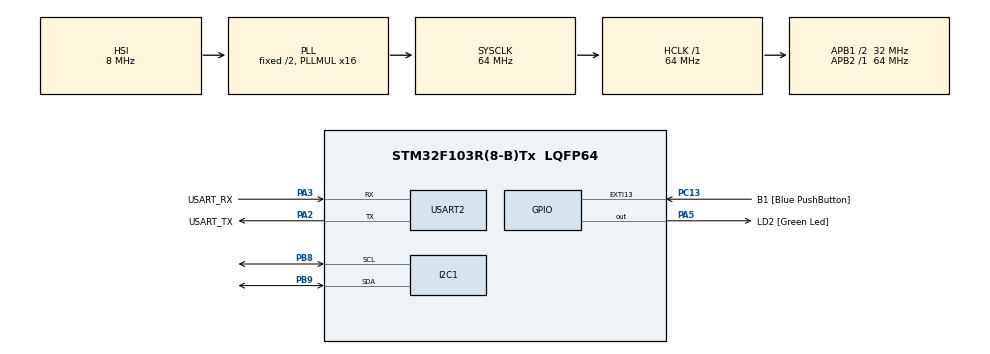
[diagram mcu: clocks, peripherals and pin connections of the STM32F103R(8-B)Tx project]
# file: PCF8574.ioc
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I2C1.I2C_Mode=I2C_Standard
Mcu.Family=STM32F1
Mcu.Name=STM32F103R(8-B)Tx
Mcu.Package=LQFP64
NVIC.EXTI15_10_IRQn=true\:0\:0\:false\:false\:true\:true\:true\:true
NVIC.PriorityGroup=NVIC_PRIORITYGROUP_4
PA13.GPIO_Label=TMS
PA13.Mode=Serial_Wire
PA13.Signal=SYS_JTMS-SWDIO
PA14.GPIO_Label=TCK
PA14.Mode=Serial_Wire
PA14.Signal=SYS_JTCK-SWCLK
PA2.GPIO_Label=USART_TX
PA2.GPIO_Mode=GPIO_MODE_AF_PP
PA2.GPIO_PuPd=GPIO_NOPULL
PA2.GPIO_Speed=GPIO_SPEED_FREQ_LOW
PA2.Mode=Asynchronous
PA2.Signal=USART2_TX
PA3.GPIO_Label=USART_RX
PA3.GPIO_Mode=GPIO_MODE_INPUT
PA3.GPIO_PuPd=GPIO_NOPULL
PA3.Mode=Asynchronous
PA3.Signal=USART2_RX
PA5.GPIO_Label=LD2 [Green Led]
PA5.GPIO_ModeDefaultOutputPP=GPIO_MODE_OUTPUT_PP
PA5.GPIO_PuPd=GPIO_NOPULL
PA5.GPIO_Speed=GPIO_SPEED_FREQ_LOW
PA5.Signal=GPIO_Output
PB3.GPIO_Label=SWO
PB3.Signal=SYS_JTDO-TRACESWO
PB8.Mode=I2C
PB8.Signal=I2C1_SCL
PB9.Mode=I2C
PB9.Signal=I2C1_SDA
PC13-TAMPER-RTC.GPIO_Label=B1 [Blue PushButton]
PC13-TAMPER-RTC.GPIO_PuPd=GPIO_NOPULL
PC13-TAMPER-RTC.Signal=GPXTI13
PC14-OSC32_IN.Mode=LSE-External-Oscillator
PC14-OSC32_IN.Signal=RCC_OSC32_IN
PC15-OSC32_OUT.Mode=LSE-External-Oscillator
PC15-OSC32_OUT.Signal=RCC_OSC32_OUT
PD0-OSC_IN.Mode=HSE-External-Clock-Source
PD0-OSC_IN.Signal=RCC_OSC_IN
PD1-OSC_OUT.Mode=HSE-External-Clock-Source
PD1-OSC_OUT.Signal=RCC_OSC_OUT
ProjectManager.HeapSize=0x200
ProjectManager.StackSize=0x400
ProjectManager.TargetToolchain=STM32CubeIDE
RCC.AHBFreq_Value=64000000
RCC.APB1CLKDivider=RCC_HCLK_DIV2
RCC.APB1Freq_Value=32000000
RCC.APB1TimFreq_Value=64000000
RCC.APB2Freq_Value=64000000
RCC.APB2TimFreq_Value=64000000
RCC.HCLKFreq_Value=64000000
RCC.PLLMUL=RCC_PLL_MUL16
RCC.RTCClockSelection=RCC_RTCCLKSOURCE_LSE
RCC.SYSCLKFreq_VALUE=64000000
RCC.SYSCLKSource=RCC_SYSCLKSOURCE_PLLCLK
RCC.USBFreq_Value=64000000
USART2.VirtualMode=VM_ASYNC
board=NUCLEO-F103RB

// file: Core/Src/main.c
/* USER CODE BEGIN Header */
/**
  ******************************************************************************
  * @file           : main.c
  * @brief          : Main program body
  ******************************************************************************
  * @attention
  *
  * Copyright (c) 2026 STMicroelectronics.
  * All rights reserved.
  *
  * This software is licensed under terms that can be found in the LICENSE file
  * in the root directory of this software component.
  * If no LICENSE file comes with this software, it is provided AS-IS.
  *
  ******************************************************************************
  */
/**
 * 03_PCF8574_LCD  —  [계층: HAL + 사용자 드라이버(i2c_lcd)]  I2C 백팩(PCF8574)을 단 문자 LCD 제어
 *
 * 구성
 *   I2C1 (100kHz, PB8/PB9 로 리맵) -> PCF8574 (I/O 확장기) -> HD44780 문자 LCD (4비트 모드)
 *   i2c_lcd.h : 외부 라이브러리 I2C-LCD-STM32 (PlatformIO lib_deps) — HAL I2C 호출을 감싼 LCD 드라이버
 *
 * 하드웨어 대응 (RM0008)
 *   AFIO_MAPR.I2C1_REMAP = 1 : I2C1 을 PB6/PB7 에서 PB8/PB9 로 이동 (HAL_msp 에서 설정)
 *   I2C1_CR1, CCR, TRISE      : 100kHz 표준 모드 타이밍
 *   HAL_I2C_IsDeviceReady     : 주소 바이트를 보내 ACK 여부를 확인 (I2C 스캐너)
 *   LCD 주소 0x4E = 7비트 0x27 << 1  (HAL 은 8비트 형태 주소를 요구)
 *
 * I2C 는 폴링 방식의 블로킹 전송이다 (I2C 인터럽트/콜백 없음).
 * 활성화된 ISR (stm32f1xx_it.c)
 *   SysTick_Handler      : 1ms 틱 (HAL_IncTick, HAL_Delay/타임아웃용)
 *   EXTI15_10_IRQHandler : B1(PC13) 상승 에지 (CubeMX 기본 설정, EXTI_IMR.MR13).
 *                          HAL_GPIO_EXTI_IRQHandler -> HAL_GPIO_EXTI_Callback 을 부르지만
 *                          이 예제는 콜백을 재정의하지 않으므로 weak 빈 함수가 실행되고 아무 일도 없다.
 * 주의: "STM32 with C Code" 는 17자이므로 16x2 LCD 에서는 마지막 'e'(DDRAM 0x10)가 보이지 않는다.
 */
/* USER CODE END Header */
#include "main.h"

/* USER CODE BEGIN Includes */
#include <stdio.h>
#include "i2c_lcd.h" // 다운로드된 드라이버 헤더 결합
/* USER CODE END Includes */

I2C_HandleTypeDef hi2c1;

UART_HandleTypeDef huart2;

/* USER CODE BEGIN PV */
// 1. LCD 핸들 인스턴스 선언 (전역 또는 main 상단)
I2C_LCD_HandleTypeDef lcd1;
/* USER CODE END PV */

void SystemClock_Config(void);
static void MX_GPIO_Init(void);
static void MX_I2C1_Init(void);
static void MX_USART2_UART_Init(void);

/* USER CODE BEGIN 0 */
// 아래 코드가 있어야만 printf했을 때 UART2로 출력된다.
#ifdef __GNUC__
#define PUTCHAR_PROTOTYPE int __io_putchar(int ch)
#else
#define PUTCHAR_PROTOTYPE int fputc(int ch, FILE *f)
#endif
PUTCHAR_PROTOTYPE {
	if (ch == '\n')
		HAL_UART_Transmit(&huart2, (uint8_t*) "\r", 1, 0xFFFF);
	HAL_UART_Transmit(&huart2, (uint8_t*) &ch, 1, 0xFFFF);
	return ch;
}

/*
 * HD44780 4비트 초기화 (라이브러리 lcd_init() 대체)
 *
 * PCF8574 출력 비트 배치 (모듈 표준, 라이브러리와 동일)
 *   P0 = RS, P1 = RW, P2 = E, P3 = 백라이트, P4~P7 = D4~D7
 *
 * 라이브러리 lcd_init() 의 문제
 *   lcd_send_cmd(0x30) 은 니블을 두 번(3, 0) 보낸다. 전원 직후 LCD 는 8비트 모드라서
 *   E 펄스 한 번이 명령 하나이므로 "0x3?" 와 "0x0?" 두 명령이 된다.
 *   lcd_send_cmd(0x20) 도 2 와 0 두 니블을 보낸다. 2 에서 4비트 모드로 바뀐 뒤 남은 0 이
 *   다음 명령의 상위 니블이 되어, 이후 모든 명령의 니블 짝이 하나씩 어긋난다.
 *   그 결과 0x28(2줄), 0x0C(표시 ON)가 실행되지 않아 화면이 꺼진 채로 남는다
 *   (Proteus LM016L 에서 화면에 아무것도 나오지 않는 원인).
 *
 * 해결: 데이터시트(HD44780 Figure 24) 순서대로 3, 3, 3, 2 를 "니블 하나씩" 보낸 뒤
 *       4비트 모드에서 라이브러리 lcd_send_cmd() 로 설정 명령을 보낸다.
 */
static void lcd_write_nibble(I2C_LCD_HandleTypeDef *lcd, uint8_t nibble)
{
	uint8_t d = (uint8_t)(nibble << 4);
	uint8_t buf[2] = {
		(uint8_t)(d | 0x0C),   // E=1, RS=0, 백라이트=1
		(uint8_t)(d | 0x08)    // E=0 -> 하강 에지에서 LCD 가 D7~D4 를 읽는다
	};
	HAL_I2C_Master_Transmit(lcd->hi2c, lcd->address, buf, 2, 100);
}

static void lcd_init_4bit(I2C_LCD_HandleTypeDef *lcd)
{
	HAL_Delay(50);                 // 전원 투입 후 40ms 이상 대기
	lcd_write_nibble(lcd, 0x3);    // Function set (8비트) 1회
	HAL_Delay(5);                  // 4.1ms 이상
	lcd_write_nibble(lcd, 0x3);    // 2회
	HAL_Delay(1);                  // 100us 이상
	lcd_write_nibble(lcd, 0x3);    // 3회
	HAL_Delay(1);
	lcd_write_nibble(lcd, 0x2);    // 4비트 모드로 전환 (여기부터 명령은 니블 2개)
	HAL_Delay(1);

	lcd_send_cmd(lcd, 0x28);       // Function set: 4비트, 2줄, 5x8
	HAL_Delay(1);
	lcd_send_cmd(lcd, 0x08);       // 표시 OFF
	HAL_Delay(1);
	lcd_send_cmd(lcd, 0x01);       // 화면 지우기 (1.52ms)
	HAL_Delay(2);
	lcd_send_cmd(lcd, 0x06);       // Entry mode: 커서 오른쪽 이동
	HAL_Delay(1);
	lcd_send_cmd(lcd, 0x0C);       // 표시 ON, 커서 OFF, 깜빡임 OFF
	HAL_Delay(1);
}
/* USER CODE END 0 */

int main(void)
{

  /* MCU Configuration--------------------------------------------------------*/

  /* Reset of all peripherals, Initializes the Flash interface and the Systick. */
  HAL_Init();

  /* Configure the system clock */
  SystemClock_Config();

  /* Initialize all configured peripherals */
  MX_GPIO_Init();
  MX_I2C1_Init();
  MX_USART2_UART_Init();
  /* USER CODE BEGIN 2 */
  HAL_Delay(1000);
  // I2C 스캐너 — 실제 주소 확인용
	printf("I2C Scan Start\n");
	for (uint8_t addr = 0x00; addr < 0xF0; addr += 2) {
		if (HAL_I2C_IsDeviceReady(&hi2c1, addr, 1, 10) == HAL_OK) {
			printf("Found: 0x%02X (7bit: 0x%02X)\n", addr, addr >> 1);
		}
	}
	printf("I2C Scan Done\n");

  // 2. 핸들에 하드웨어 레일 바인딩
  lcd1.hi2c    = &hi2c1;
  lcd1.address = 0x4E;   // PCF8574 기본 주소: 0x27<<1 = 0x4E

  // 3. LCD 초기화 (백라이트 자동 ON 포함)
  //    라이브러리 lcd_init() 대신 니블 정렬을 맞춘 lcd_init_4bit() 를 쓴다 (USER CODE 0 설명 참고)
  lcd_init_4bit(&lcd1);

  // 4. 디스플레이 클리어
  lcd_clear(&lcd1);
  printf("LCD clear\n");

  // 5. 1행 출력: gotoxy(col, row) → puts()
  lcd_gotoxy(&lcd1, 0, 0);
  lcd_puts(&lcd1, "STM32 with C Code");
  printf("STM32 with C Code\n");

  // 6. 2행 출력
  lcd_gotoxy(&lcd1, 0, 1);
  lcd_puts(&lcd1, "No OOP Paradigm");
  printf("No OOP Paradigm\n");

  /* USER CODE END 2 */

  /* Infinite loop */
  while (1)
  {

    /* USER CODE BEGIN 3 */
    HAL_GPIO_TogglePin(LD2_GPIO_Port, LD2_Pin);
    HAL_Delay(500);
  }
  /* USER CODE END 3 */
}

void SystemClock_Config(void)
{
  RCC_OscInitTypeDef RCC_OscInitStruct = {0};
  RCC_ClkInitTypeDef RCC_ClkInitStruct = {0};

  /** Initializes the RCC Oscillators according to the specified parameters
  * in the RCC_OscInitTypeDef structure.
  */
  RCC_OscInitStruct.OscillatorType = RCC_OSCILLATORTYPE_HSI;
  RCC_OscInitStruct.HSIState = RCC_HSI_ON;
  RCC_OscInitStruct.HSICalibrationValue = RCC_HSICALIBRATION_DEFAULT;
  RCC_OscInitStruct.PLL.PLLState = RCC_PLL_ON;
  RCC_OscInitStruct.PLL.PLLSource = RCC_PLLSOURCE_HSI_DIV2;
  RCC_OscInitStruct.PLL.PLLMUL = RCC_PLL_MUL16;
  if (HAL_RCC_OscConfig(&RCC_OscInitStruct) != HAL_OK)
  {
    Error_Handler();
  }

  /** Initializes the CPU, AHB and APB buses clocks
  */
  RCC_ClkInitStruct.ClockType = RCC_CLOCKTYPE_HCLK|RCC_CLOCKTYPE_SYSCLK
                              |RCC_CLOCKTYPE_PCLK1|RCC_CLOCKTYPE_PCLK2;
  RCC_ClkInitStruct.SYSCLKSource = RCC_SYSCLKSOURCE_PLLCLK;
  RCC_ClkInitStruct.AHBCLKDivider = RCC_SYSCLK_DIV1;
  RCC_ClkInitStruct.APB1CLKDivider = RCC_HCLK_DIV2;
  RCC_ClkInitStruct.APB2CLKDivider = RCC_HCLK_DIV1;

  if (HAL_RCC_ClockConfig(&RCC_ClkInitStruct, FLASH_LATENCY_2) != HAL_OK)
  {
    Error_Handler();
  }
}

static void MX_I2C1_Init(void)
{

  hi2c1.Instance = I2C1;
  hi2c1.Init.ClockSpeed = 100000;
  hi2c1.Init.DutyCycle = I2C_DUTYCYCLE_2;
  hi2c1.Init.OwnAddress1 = 0;
  hi2c1.Init.AddressingMode = I2C_ADDRESSINGMODE_7BIT;
  hi2c1.Init.DualAddressMode = I2C_DUALADDRESS_DISABLE;
  hi2c1.Init.OwnAddress2 = 0;
  hi2c1.Init.GeneralCallMode = I2C_GENERALCALL_DISABLE;
  hi2c1.Init.NoStretchMode = I2C_NOSTRETCH_DISABLE;
  if (HAL_I2C_Init(&hi2c1) != HAL_OK)
  {
    Error_Handler();
  }

}

static void MX_USART2_UART_Init(void)
{

  huart2.Instance = USART2;
  huart2.Init.BaudRate = 115200;
  huart2.Init.WordLength = UART_WORDLENGTH_8B;
  huart2.Init.StopBits = UART_STOPBITS_1;
  huart2.Init.Parity = UART_PARITY_NONE;
  huart2.Init.Mode = UART_MODE_TX_RX;
  huart2.Init.HwFlowCtl = UART_HWCONTROL_NONE;
  huart2.Init.OverSampling = UART_OVERSAMPLING_16;
  if (HAL_UART_Init(&huart2) != HAL_OK)
  {
    Error_Handler();
  }

}

static void MX_GPIO_Init(void)
{
  GPIO_InitTypeDef GPIO_InitStruct = {0};

  /* GPIO Ports Clock Enable */
  __HAL_RCC_GPIOC_CLK_ENABLE();
  __HAL_RCC_GPIOD_CLK_ENABLE();
  __HAL_RCC_GPIOA_CLK_ENABLE();
  __HAL_RCC_GPIOB_CLK_ENABLE();

  /*Configure GPIO pin Output Level */
  HAL_GPIO_WritePin(LD2_GPIO_Port, LD2_Pin, GPIO_PIN_RESET);

  /*Configure GPIO pin : B1_Pin */
  GPIO_InitStruct.Pin = B1_Pin;
  GPIO_InitStruct.Mode = GPIO_MODE_IT_RISING;
  GPIO_InitStruct.Pull = GPIO_NOPULL;
  HAL_GPIO_Init(B1_GPIO_Port, &GPIO_InitStruct);

  /*Configure GPIO pin : LD2_Pin */
  GPIO_InitStruct.Pin = LD2_Pin;
  GPIO_InitStruct.Mode = GPIO_MODE_OUTPUT_PP;
  GPIO_InitStruct.Pull = GPIO_NOPULL;
  GPIO_InitStruct.Speed = GPIO_SPEED_FREQ_LOW;
  HAL_GPIO_Init(LD2_GPIO_Port, &GPIO_InitStruct);

  /* EXTI interrupt init*/
  HAL_NVIC_SetPriority(EXTI15_10_IRQn, 0, 0);
  HAL_NVIC_EnableIRQ(EXTI15_10_IRQn);

}

void Error_Handler(void)
{
  __disable_irq();
  while (1)
  {
  }
}
